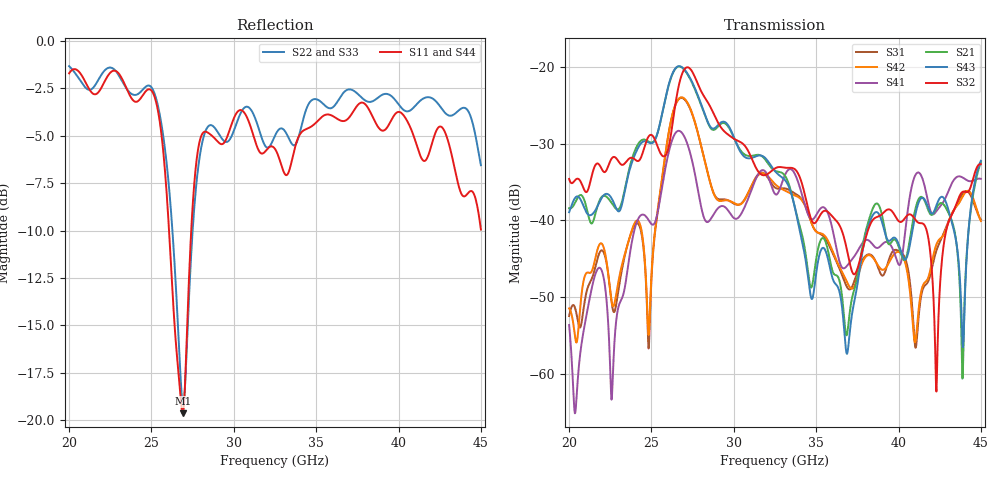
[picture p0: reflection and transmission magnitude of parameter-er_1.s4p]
! TOUCHSTONE file generated by CST MICROWAVE STUDIO
! Date and time: Fri Jun  7 00:43:40 2024
! Project name: Final_26GHz_linear.cst
! Parameters = {Connector_spacing=15.33; Coplanar_gap=0.425; Distance_inner=4.78238; Distance_outer=14.3471; L=2.6; L_pad=5; Length_strip_inner=24.3248; Length_strip_outer=27.8328; Pad_via_diameter=2.1; Pad_via_x_centre=3.75; Pad_via_z_centre=2.8; Patch_spacing=5.76524; Via_diameter=0.4; Via_spacing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
! Header version: 2024
! Port assignment regex: !\s*Touchstone port\s*([0-9]+)\s*=\s*(CST MWS port|CST DES external port|CST DES block port)\s*(.+)\s* \(\"(.*)\"\)(\s*mode\s*([0-9]+))?.*
! Touchstone port assignment:
! Touchstone port 1 = CST MWS port 1 ("")
! Touchstone port 2 = CST MWS port 2 ("")
! Touchstone port 3 = CST MWS port 3 ("")
! Touchstone port 4 = CST MWS port 4 ("")
# GHz S MA R 50
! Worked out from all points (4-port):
!   1001 points, 20 GHz to 45 GHz, reference 50 ohm
!   strongest paths, dB at 20 GHz, 26.25 GHz, 32.5 GHz, 38.75 GHz, 45 GHz:
!     S32: -34.6, -27.9, -33.2, -39.5, -32.7
!     S43: -38.9, -21.0, -33.6, -39.0, -32.2
!     S21: -38.4, -21.1, -33.5, -37.9, -32.4
!     S41: -53.6, -29.6, -36.6, -43.6, -34.6
!     S42: -51.5, -26.4, -35.3, -45.9, -40.1
!     S31: -52.5, -26.5, -35.7, -46.1, -39.9
!   lowest |S11| = -19.6 dB at 26.9 GHz (marker M1), VSWR 1.23, Z = 59.3 + j6.66 ohm
!   |S11| at or under -10 dB: 26.07 GHz to 27.41 GHz (1.346 GHz wide, 5.03 % of centre)
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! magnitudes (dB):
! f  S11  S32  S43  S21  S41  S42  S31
! 20 GHz  -1.7  -34.6  -38.9  -38.4  -53.6  -51.5  -52.5
! 24.85 GHz  -2.5  -29.0  -29.9  -29.8  -40.1  -54.5  -56.2
! 26.9 GHz  -19.6  -20.7  -20.1  -20.2  -28.7  -24.0  -24.1
! 36.88 GHz  -4.1  -43.9  -57.4  -54.8  -45.9  -48.1  -48.7
! 42.3 GHz  -4.7  -62.3  -38.1  -38.4  -38.8  -43.1  -43.9
! 43.88 GHz  -8.1  -36.3  -55.3  -60.6  -34.4  -37.0  -36.6
! 45 GHz  -9.9  -32.7  -32.2  -32.4  -34.6  -40.1  -39.9
